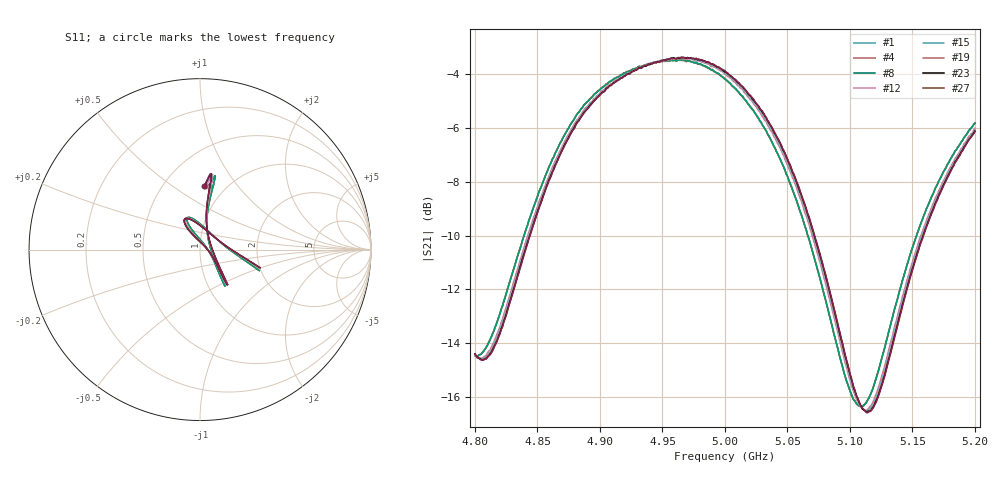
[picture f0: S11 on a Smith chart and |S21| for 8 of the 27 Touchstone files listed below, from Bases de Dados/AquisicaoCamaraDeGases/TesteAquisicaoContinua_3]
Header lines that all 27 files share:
! Network Analyzer HP8722D
! Hewlett-Packard
! Data name: Linha & Wilkinson
! Saver's name: Rodrigo Anjos
! Comments: Teste da utilização de aquisição
! continua pelo VNA HP8722D
!  Frequency  S11  S21  S12  S22
# HZ  S  MA R 50
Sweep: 4.8 GHz to 5.2 GHz
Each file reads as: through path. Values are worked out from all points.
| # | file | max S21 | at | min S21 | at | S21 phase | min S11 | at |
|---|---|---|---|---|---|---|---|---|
| 1 | teste_arseco&borbulhador_90Acetona_82.S2P | -3.46 dB | 4.963 GHz | -16.4 dB | 5.109 GHz | 11 deg at 5 GHz | -28.4 dB | 5.017 GHz |
| 2 | teste_arseco&borbulhador_90Acetona_83.S2P | -3.46 dB | 4.957 GHz | -16.4 dB | 5.11 GHz | 11 deg at 5 GHz | -28.4 dB | 5.017 GHz |
| 3 | teste_arseco&borbulhador_90Acetona_84.S2P | -3.44 dB | 4.965 GHz | -16.4 dB | 5.109 GHz | 11 deg at 5 GHz | -28.4 dB | 5.017 GHz |
| 4 | teste_arseco&borbulhador_90Acetona_85.S2P | -3.46 dB | 4.959 GHz | -16.4 dB | 5.108 GHz | 11 deg at 5 GHz | -28.4 dB | 5.018 GHz |
| 5 | teste_arseco&borbulhador_90Acetona_86.S2P | -3.46 dB | 4.962 GHz | -16.4 dB | 5.108 GHz | 11 deg at 5 GHz | -28.4 dB | 5.018 GHz |
| 6 | teste_arseco&borbulhador_90Acetona_87.S2P | -3.46 dB | 4.965 GHz | -16.4 dB | 5.108 GHz | 11 deg at 5 GHz | -28.3 dB | 5.018 GHz |
| 7 | teste_arseco&borbulhador_90Acetona_88.S2P | -3.45 dB | 4.957 GHz | -16.4 dB | 5.109 GHz | 11 deg at 5 GHz | -28.4 dB | 5.018 GHz |
| 8 | teste_arseco&borbulhador_90Acetona_89.S2P | -3.46 dB | 4.966 GHz | -16.4 dB | 5.11 GHz | 11 deg at 5 GHz | -28.5 dB | 5.017 GHz |
| 9 | teste_arseco&borbulhador_90Acetona_90.S2P | -3.46 dB | 4.957 GHz | -16.4 dB | 5.109 GHz | 11 deg at 5 GHz | -28.3 dB | 5.017 GHz |
| 10 | teste_arseco&borbulhador_90Acetona_91.S2P | -3.43 dB | 4.962 GHz | -16.4 dB | 5.11 GHz | 11 deg at 5 GHz | -28.4 dB | 5.017 GHz |
| 11 | teste_arseco&borbulhador_90Acetona_92.S2P | -3.41 dB | 4.965 GHz | -16.5 dB | 5.111 GHz | 12 deg at 5 GHz | -29.0 dB | 5.019 GHz |
| 12 | teste_arseco&borbulhador_90Acetona_93.S2P | -3.42 dB | 4.965 GHz | -16.5 dB | 5.112 GHz | 13 deg at 5 GHz | -29.1 dB | 5.021 GHz |
| 13 | teste_arseco&borbulhador_90Acetona_94.S2P | -3.39 dB | 4.965 GHz | -16.5 dB | 5.113 GHz | 13 deg at 5 GHz | -29.2 dB | 5.021 GHz |
| 14 | teste_arseco&borbulhador_90Acetona_95.S2P | -3.39 dB | 4.965 GHz | -16.5 dB | 5.113 GHz | 13 deg at 5 GHz | -29.3 dB | 5.021 GHz |
| 15 | teste_arseco&borbulhador_90Acetona_96.S2P | -3.38 dB | 4.965 GHz | -16.5 dB | 5.113 GHz | 13 deg at 5 GHz | -29.5 dB | 5.021 GHz |
| 16 | teste_arseco&borbulhador_90Acetona_97.S2P | -3.37 dB | 4.965 GHz | -16.5 dB | 5.113 GHz | 14 deg at 5 GHz | -29.5 dB | 5.021 GHz |
| 17 | teste_arseco&borbulhador_90Acetona_98.S2P | -3.35 dB | 4.965 GHz | -16.5 dB | 5.114 GHz | 14 deg at 5 GHz | -29.5 dB | 5.021 GHz |
| 18 | teste_arseco&borbulhador_90Acetona_99.S2P | -3.37 dB | 4.967 GHz | -16.6 dB | 5.113 GHz | 14 deg at 5 GHz | -29.6 dB | 5.021 GHz |
| 19 | teste_arseco&borbulhador_90Acetona_100.S2P | -3.38 dB | 4.965 GHz | -16.6 dB | 5.114 GHz | 14 deg at 5 GHz | -29.6 dB | 5.021 GHz |
| 20 | teste_arseco&borbulhador_90Acetona_101.S2P | -3.36 dB | 4.966 GHz | -16.6 dB | 5.114 GHz | 14 deg at 5 GHz | -29.6 dB | 5.021 GHz |
| 21 | teste_arseco&borbulhador_90Acetona_102.S2P | -3.36 dB | 4.965 GHz | -16.6 dB | 5.112 GHz | 14 deg at 5 GHz | -29.7 dB | 5.021 GHz |
| 22 | teste_arseco&borbulhador_90Acetona_103.S2P | -3.38 dB | 4.972 GHz | -16.6 dB | 5.113 GHz | 14 deg at 5 GHz | -29.7 dB | 5.021 GHz |
| 23 | teste_arseco&borbulhador_90Acetona_104.S2P | -3.37 dB | 4.965 GHz | -16.6 dB | 5.113 GHz | 14 deg at 5 GHz | -29.7 dB | 5.021 GHz |
| 24 | teste_arseco&borbulhador_90Acetona_105.S2P | -3.37 dB | 4.963 GHz | -16.6 dB | 5.113 GHz | 14 deg at 5 GHz | -29.7 dB | 5.021 GHz |
| 25 | teste_arseco&borbulhador_90Acetona_106.S2P | -3.36 dB | 4.965 GHz | -16.6 dB | 5.115 GHz | 14 deg at 5 GHz | -29.8 dB | 5.021 GHz |
| 26 | teste_arseco&borbulhador_90Acetona_107.S2P | -3.36 dB | 4.963 GHz | -16.6 dB | 5.114 GHz | 14 deg at 5 GHz | -29.7 dB | 5.021 GHz |
| 27 | teste_arseco&borbulhador_90Acetona_108.S2P | -3.37 dB | 4.963 GHz | -16.6 dB | 5.114 GHz | 14 deg at 5 GHz | -29.7 dB | 5.021 GHz |
